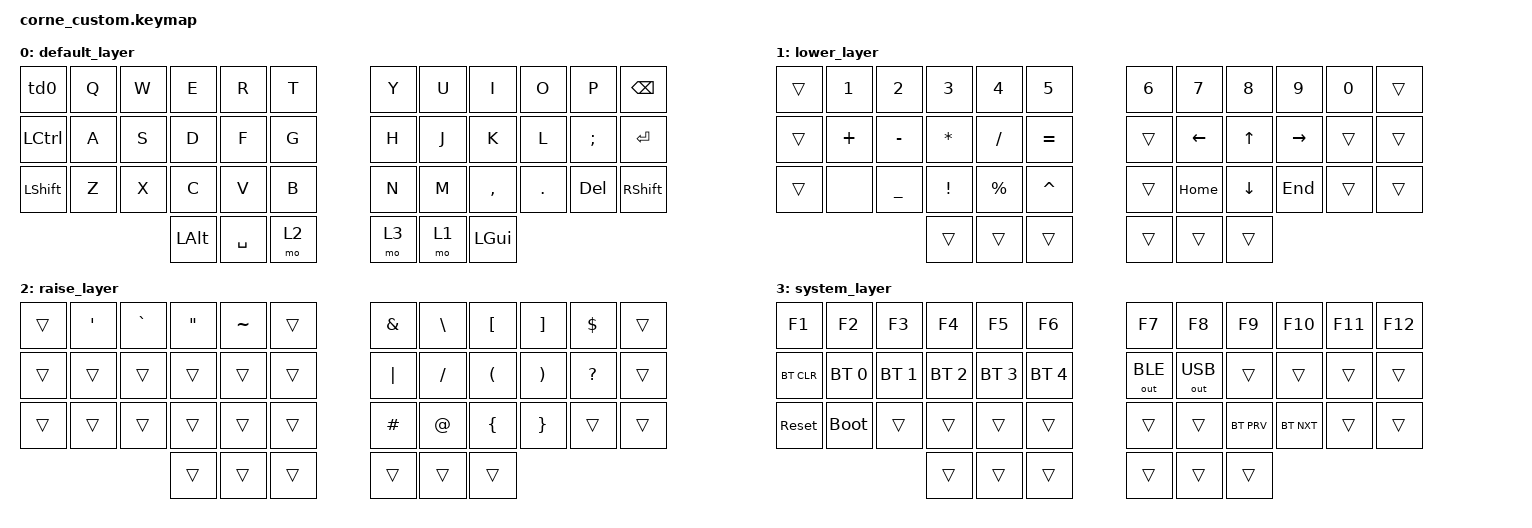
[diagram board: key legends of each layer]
#include <behaviors.dtsi>
#include <dt-bindings/zmk/keys.h>
#include <dt-bindings/zmk/bt.h>
#include <dt-bindings/zmk/outputs.h>

/ {
    behaviors {
        /* * Tap Dance:
         * 1 toque rápido = TAB
         * 2 toques rápidos = ESC
         */
        td0: tap_dance_0 {
            compatible = "zmk,behavior-tap-dance";
            #binding-cells = <0>;
            tapping-term-ms = <200>;
            bindings = <&kp TAB>, <&kp ESC>;
        };
    };

    keymap {
        compatible = "zmk,keymap";

        /* -----------------------------------------------------------------------------------------
         * CAPA 0: BASE (Escritura normal)
         * -----------------------------------------------------------------------------------------
         * | TAB/ESC |  Q  |  W  |  E  |  R  |  T  |   |  Y  |  U  |  I  |  O  |  P  | BKSP |
         * | LCTRL   |  A  |  S  |  D  |  F  |  G  |   |  H  |  J  |  K  |  L  |  ;  | ENT  |
         * | LSHFT   |  Z  |  X  |  C  |  V  |  B  |   |  N  |  M  |  ,  |  .  | DEL | RSHFT|
         *                       | ALT | SPC | L2  |   | L3  | L1  | GUI |
         */
        default_layer {
            bindings = <
&td0      &kp Q &kp W &kp E    &kp R     &kp T     &kp Y &kp U  &kp I     &kp O   &kp P    &kp BSPC
&kp LCTRL &kp A &kp S &kp D    &kp F     &kp G     &kp H &kp J  &kp K     &kp L   &kp SEMI &kp RET
&kp LSHFT &kp Z &kp X &kp C    &kp V     &kp B     &kp N &kp M  &kp COMMA &kp DOT &kp DEL  &kp RSHFT
                      &kp LALT &kp SPACE &mo 2     &mo 3 &mo 1  &kp LGUI
            >;
        };

        /* -----------------------------------------------------------------------------------------
         * CAPA 1: LOWER (Números, Símbolos matemáticos y Navegación)
         * -----------------------------------------------------------------------------------------
         * Izquierda:                                     Derecha:
         * 1   2   3   4   5                           6   7    8    9    0
         * +   -   * /   =                             -- LFT   UP  RGT  --
         * _   !   %   ^                               -- HOM  DWN  END  --
         */
        lower_layer {
            bindings = <
&trans &kp N1    &kp N2    &kp N3    &kp N4    &kp N5       &kp N6   &kp N7   &kp N8   &kp N9    &kp N0 &trans
&trans &kp PLUS  &kp MINUS &kp STAR  &kp SLASH &kp EQUAL    &trans   &kp LEFT &kp UP   &kp RIGHT &trans &trans
&trans &none     &kp UNDER &kp EXCL  &kp PRCNT &kp CARET    &trans   &kp HOME &kp DOWN &kp END   &trans &trans
                           &trans    &trans    &trans       &trans   &trans   &trans
            >;
        };

        /* -----------------------------------------------------------------------------------------
         * CAPA 2: RAISE (Símbolos avanzados de programación)
         * -----------------------------------------------------------------------------------------
         * Lado Izquierdo:                             Lado Derecho:
         * '   `   "                                   &   \   [   ]   $
         *                                             |   /   (   )   ?
         *                                             #   @   {   }
         */
        raise_layer {
            bindings = <
&trans &kp SQT   &kp GRAVE &kp DQT   &kp TILDE &trans       &kp AMPS  &kp BSLH  &kp LBKT  &kp RBKT  &kp DLLR     &trans
&trans &trans    &trans    &trans    &trans    &trans       &kp PIPE  &kp SLASH &kp LPAR  &kp RPAR  &kp QUESTION &trans
&trans &trans    &trans    &trans    &trans    &trans       &kp HASH  &kp AT    &kp LBRC  &kp RBRC  &trans       &trans
                           &trans    &trans    &trans       &trans    &trans    &trans
            >;
        };

        /* -----------------------------------------------------------------------------------------
         * CAPA 3: SYSTEM (Teclas de Función, Bluetooth y Hardware)
         * -----------------------------------------------------------------------------------------
         * F1 F2 F3 F4 F5 F6 F7 F8 F9 F10 F11 F12
         * BT-Clear BL-1 BL-2 BL-3 BL-4 BLE USB
         * Reset y Bootloader (Modo flasheo)
         */
        system_layer {
            bindings = <
&kp F1     &kp F2       &kp F3       &kp F4       &kp F5       &kp F6         &kp F7       &kp F8       &kp F9       &kp F10      &kp F11 &kp F12
&bt BT_CLR &bt BT_SEL 0 &bt BT_SEL 1 &bt BT_SEL 2 &bt BT_SEL 3 &bt BT_SEL 4   &out OUT_BLE &out OUT_USB &trans       &trans       &trans  &trans
&sys_reset &bootloader  &trans       &trans       &trans       &trans         &trans       &trans       &bt BT_PRV   &bt BT_NXT   &trans  &trans
                                     &trans       &trans       &trans         &trans       &trans       &trans
            >;
        };
    };
};
